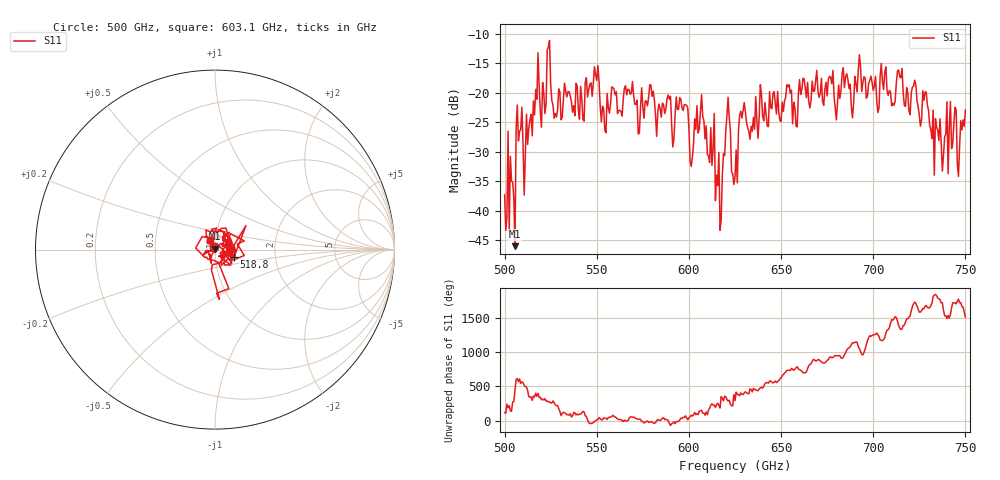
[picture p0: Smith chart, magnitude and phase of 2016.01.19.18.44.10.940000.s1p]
!Created with skrf (http://scikit-rf.org).
# GHz S RI R 50.0
!freq ReS11 ImS11
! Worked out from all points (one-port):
!   401 points, 500 GHz to 750 GHz, reference 50 ohm
!   lowest |S11| = -46.0 dB at 505.6 GHz (marker M1), VSWR 1.01, Z = 50 + j0.502 ohm
!   |S11| at or under -10 dB: start of sweep to end of sweep
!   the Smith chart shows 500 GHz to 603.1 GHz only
!   S11 on the Smith chart (normalised r, x): 500 GHz: 0.99, +0.02; 518.8 GHz: 1.23, -0.10; 603.1 GHz: 0.94, +0.10
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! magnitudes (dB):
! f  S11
! 500 GHz  -37.3
! 505.6 GHz  -46.0
! 508.1 GHz  -26.5
! 511.2 GHz  -30.3
! 518.8 GHz  -18.9
! 524.4 GHz  -11.1
! 526.9 GHz  -24.3
! 531.2 GHz  -24.2
! 550 GHz  -17.9
! 553.8 GHz  -22.8
! 562.5 GHz  -22.9
! 593.8 GHz  -22.8
! 598.8 GHz  -22.1
! 601.2 GHz  -32.5
! 603.1 GHz  -24.4
! 607.5 GHz  -24.0
! 616.9 GHz  -43.3
! 621.2 GHz  -20.7
! 625 GHz  -34.3
! 628.8 GHz  -24.3
! 656.2 GHz  -25.2
! 687.5 GHz  -18.5
! 710.6 GHz  -21.7
! 714.4 GHz  -17.3
! 718.8 GHz  -20.0
! 728.1 GHz  -19.9
! 738.1 GHz  -30.6
! 750 GHz  -22.9
